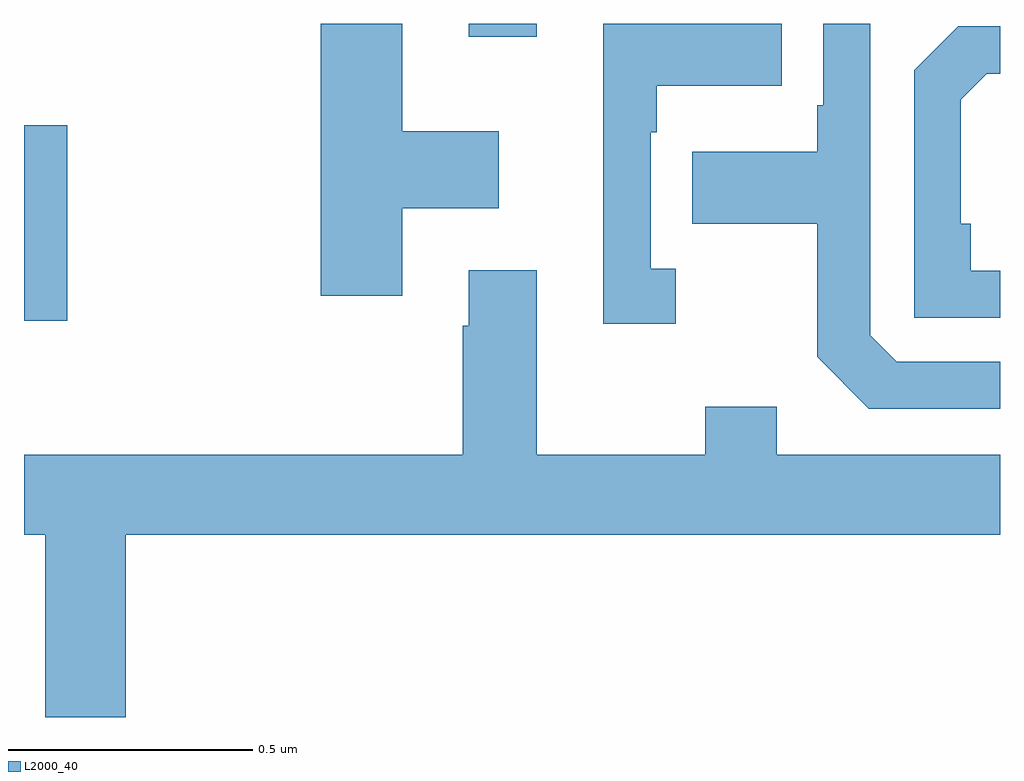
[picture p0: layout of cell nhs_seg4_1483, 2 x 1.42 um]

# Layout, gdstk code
import gdstk
lib = gdstk.Library(unit=1e-6, precision=1e-09)
def R(c, l, rs):  # rectangles x0, y0, x1, y1
    for r in rs: c.add(gdstk.rectangle(r[:2], r[2:], *l))
def P(c, l, *ps):  # polygons
    for p in ps: c.add(gdstk.Polygon(p, *l))
L2000_40 = (2000, 40)

nhs_seg4_1483 = lib.new_cell('nhs_seg4_1483')
R(nhs_seg4_1483, L2000_40, [(129,765.291,129.089,765.692), (129.911,765.873,130.051,765.9)])
P(nhs_seg4_1483, L2000_40, [(131,765.207),(130.788,765.207),(130.734,765.261),(130.734,765.9),(130.638,765.9),(130.638,765.733),(130.626,765.733),(130.626,765.637),(130.369,765.637),(130.369,765.49),(130.626,765.49),(130.626,765.217),(130.731,765.111),(131,765.111)],
  [(129.775,765.521),(129.973,765.521),(129.973,765.679),(129.775,765.679),(129.775,765.9),(129.608,765.9),(129.608,765.342),(129.775,765.342)],
  [(130.336,765.398),(130.284,765.398),(130.284,765.677),(130.297,765.677),(130.297,765.773),(130.553,765.773),(130.553,765.9),(130.187,765.9),(130.187,765.285),(130.336,765.285)],
  [(131,765.393),(130.94,765.393),(130.94,765.49),(130.92,765.49),(130.92,765.744),(130.973,765.797),(131,765.797),(131,765.894),(130.914,765.894),(130.824,765.804),(130.824,765.297),(131,765.297)],
  [(129.208,764.852),(131,764.852),(131,765.016),(130.543,765.016),(130.543,765.115),(130.396,765.115),(130.396,765.016),(130.051,765.016),(130.051,765.394),(129.911,765.394),(129.911,765.281),(129.899,765.281),(129.899,765.016),(129,765.016),(129,764.852),(129.044,764.852),(129.044,764.478),(129.208,764.478)])

lib.write_gds('nhs_seg4_1483.gds')
